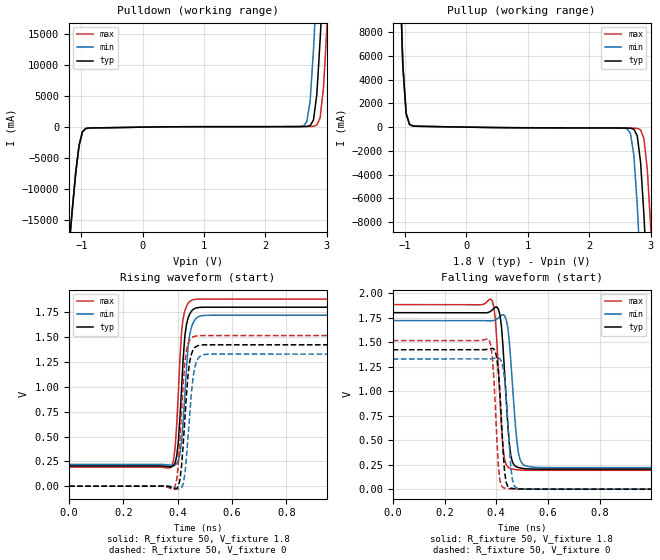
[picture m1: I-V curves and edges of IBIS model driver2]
| IBIS file inv_chain_probe.ibs created by PYS2IBIS3
| Missouri S&T EMC Lab
[IBIS Ver] 7.1
[File Name] inv_chain_probe.ibs
[File Rev] 1.0
[Date] Jul 27, 2026
[Source] Eight-stage inv_chain transistor model characterized with s2ibispy
[Notes] Observation pass for parameter selection; inherited sim_time, safe 200
 ps edge.
[Component] invchain
[Manufacturer] s2ibispy study
[Package]
| variable   typ   min   max
R_pkg 0 NA NA
L_pkg 0H NA NA
C_pkg 0F NA NA
[Pin]  signal_name   model_name   R_pin   L_pin   C_pin
VSSQ   VSSQ   Gnd
VCCQ   VCCQ   Power
| IN IN dummy
PAD   PAD   driver2
| End of Component
| Models and submodels in the file (1): driver2 (Output)
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[Model] driver2
Model_type Output
Polarity Non-Inverting
Enable Active-High
Vinl  = 0.8V
Vinh  = 2V
C_comp 0.4680pF NA NA
[Temperature Range] 27.0000 27.0000 27.0000
[Voltage Range] 1.8000V 1.7000V 1.9000V
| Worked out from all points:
|   slope of the pulldown table from 0 to 0.27 V, typ, clamps not added: 6.79 ohm
|   slope of the pullup table from 0 to 0.27 V, typ, clamps not added: 12.6 ohm
|   rising waveform, R_fixture 50, V_fixture 1.8: 20-80 % time 21.3ps typ, 22.9ps min, 20ps max; typ from 0.204 V to 1.8 V
|   rising waveform, R_fixture 50, V_fixture 0: 20-80 % time 22.3ps typ, 24ps min, 21.1ps max; typ from 0 V to 1.42 V
|   falling waveform, R_fixture 50, V_fixture 1.8: 20-80 % time 23.4ps typ, 25.7ps min, 21.5ps max; typ from 1.8 V to 0.204 V
|   falling waveform, R_fixture 50, V_fixture 0: 20-80 % time 19.3ps typ, 20.9ps min, 18.2ps max; typ from 1.42 V to 0 V
[Pulldown]
| Voltage   I(typ)   I(min)   I(max)
-1.8V     -87.88A    -87.88A    -87.88A
-1.2V     -19.4A     -19.4A     -19.4A
-1.036V   -2.952A    -2.948A    -2.955A
-927.3mV  -221.8mA   -216.4mA   -227mA
2.618V    95.77mA    193.1mA    97.15mA
2.727V    244.8mA    4.224A     106.4mA
2.782V    1.151A     12.49A     132.5mA
2.836V    5.27A      23.04A     313.7mA
2.891V    14.25A     33.59A     1.533A
2.946V    24.81A     44.15A     6.464A
3V        35.36A     54.71A     16.02A
3.6V      151.5A     170.8A     132.1A
[Pullup]
| Voltage   I(typ)   I(min)   I(max)
-1.8V     151.4A     151.4A     151.4A
-1.091V   14.2A      14.19A     14.2A
-981.8mV  1.13A      1.129A     1.132A
-872.7mV  99.18mA    97.54mA    100.6mA
2.618V    -78.19mA   -142.5mA   -79.21mA
2.727V    -177.2mA   -2.408A    -86.52mA
2.782V    -728.3mA   -6.523A    -104.6mA
2.836V    -2.952A    -12.18A    -222.3mA
2.891V    -7.391A    -18.4A     -950.7mA
2.946V    -13.22A    -24.62A    -3.561A
3V        -19.44A    -30.85A    -8.297A
3.6V      -87.92A    -99.33A    -76.52A
[Ramp]
| variable   typ   min   max
dV/dt_r 0.8532/0.02169n 0.7968/0.02335n 0.9090/0.02059n
dV/dt_f 0.9575/0.02294n 0.8972/0.02486n 1.0171/0.02152n
R_load = 50
[Rising Waveform]
R_fixture = 50
V_fixture = 1.8
|time   V(typ)   V(min)   V(max)
0s        204.2mV    219.5mV    192.2mV
378.4ps   197.2mV    210.1mV    203.4mV
390.4ps   233.7mV    213.5mV    385.9mV
402.4ps   451.9mV    260.9mV    946.5mV
414.4ps   990.9mV    460.7mV    1.559V
420.4ps   1.294V     663.5mV    1.694V
426.4ps   1.514V     917.4mV    1.766V
438.4ps   1.692V     1.405V     1.84V
462.5ps   1.787V     1.671V     1.879V
6ns       1.8V       1.719V     1.882V
[Rising Waveform]
R_fixture = 50
V_fixture = 0
|time   V(typ)   V(min)   V(max)
0s        13.08nV    12.76nV    13.48nV
384.4ps   -23.77mV   -7.793mV   -27.04mV
396.4ps   -26.01mV   -22.12mV   65.81mV
408.4ps   66.35mV    -29.48mV   476.7mV
420.4ps   429.4mV    25.34mV    1.04V
432.4ps   928.2mV    296mV      1.369V
444.4ps   1.257V     734.1mV    1.472V
456.5ps   1.373V     1.094V     1.501V
474.5ps   1.413V     1.285V     1.513V
6ns       1.422V     1.328V     1.515V
[Falling Waveform]
R_fixture = 50
V_fixture = 1.8
|time   V(typ)   V(min)   V(max)
0s        1.8V       1.719V     1.882V
384.4ps   1.828V     1.718V     1.923V
396.4ps   1.856V     1.725V     1.741V
414.4ps   1.776V     1.76V      905.9mV
432.4ps   1.184V     1.77V      301.9mV
456.5ps   341.8mV    1.304V     210mV
480.5ps   225.4mV    474.3mV    197.2mV
504.5ps   210.6mV    249.7mV    193.5mV
576.6ps   204.2mV    220.3mV    192.1mV
6ns       204.2mV    219.5mV    192.2mV
[Falling Waveform]
R_fixture = 50
V_fixture = 0
|time   V(typ)   V(min)   V(max)
0s        1.422V     1.328V     1.515V
372.4ps   1.43V      1.328V     1.522V
384.4ps   1.437V     1.331V     1.364V
402.4ps   1.337V     1.339V     516.7mV
414.4ps   983.8mV    1.33V      88.53mV
432.4ps   176.2mV    1.124V     10.44mV
444.4ps   29.23mV    707.9mV    5.803mV
462.5ps   7.208mV    95.97mV    2.361mV
510.5ps   642.5uV    2.661mV    144.7uV
6ns       13.27nV    12.88nV    13.66nV
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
